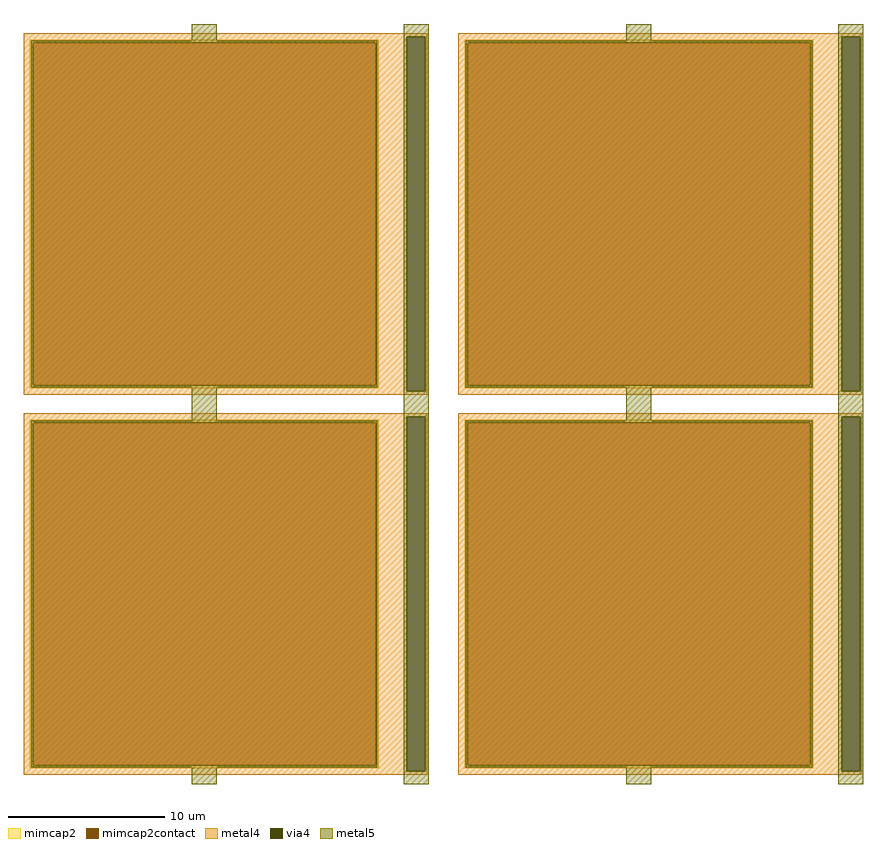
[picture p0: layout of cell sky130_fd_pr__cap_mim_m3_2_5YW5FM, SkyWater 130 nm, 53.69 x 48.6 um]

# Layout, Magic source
magic
tech sky130A
magscale 1 2
<< metal4 >>
rect -5358 4699 -200 4740
rect -5358 161 -456 4699
rect -220 161 -200 4699
rect -5358 120 -200 161
rect 200 4699 5358 4740
rect 200 161 5102 4699
rect 5338 161 5358 4699
rect 200 120 5358 161
rect -5358 -161 -200 -120
rect -5358 -4699 -456 -161
rect -220 -4699 -200 -161
rect -5358 -4740 -200 -4699
rect 200 -161 5358 -120
rect 200 -4699 5102 -161
rect 5338 -4699 5358 -161
rect 200 -4740 5358 -4699
<< via4 >>
rect -456 161 -220 4699
rect 5102 161 5338 4699
rect -456 -4699 -220 -161
rect 5102 -4699 5338 -161
<< mimcap2 >>
rect -5278 4620 -818 4660
rect -5278 240 -5238 4620
rect -858 240 -818 4620
rect -5278 200 -818 240
rect 280 4620 4740 4660
rect 280 240 320 4620
rect 4700 240 4740 4620
rect 280 200 4740 240
rect -5278 -240 -818 -200
rect -5278 -4620 -5238 -240
rect -858 -4620 -818 -240
rect -5278 -4660 -818 -4620
rect 280 -240 4740 -200
rect 280 -4620 320 -240
rect 4700 -4620 4740 -240
rect 280 -4660 4740 -4620
<< mimcap2contact >>
rect -5238 240 -858 4620
rect 320 240 4700 4620
rect -5238 -4620 -858 -240
rect 320 -4620 4700 -240
<< metal5 >>
rect -3208 4644 -2888 4860
rect -498 4699 -178 4860
rect -5262 4620 -834 4644
rect -5262 240 -5238 4620
rect -858 240 -834 4620
rect -5262 216 -834 240
rect -3208 -216 -2888 216
rect -498 161 -456 4699
rect -220 161 -178 4699
rect 2350 4644 2670 4860
rect 5060 4699 5380 4860
rect 296 4620 4724 4644
rect 296 240 320 4620
rect 4700 240 4724 4620
rect 296 216 4724 240
rect -498 -161 -178 161
rect -5262 -240 -834 -216
rect -5262 -4620 -5238 -240
rect -858 -4620 -834 -240
rect -5262 -4644 -834 -4620
rect -3208 -4860 -2888 -4644
rect -498 -4699 -456 -161
rect -220 -4699 -178 -161
rect 2350 -216 2670 216
rect 5060 161 5102 4699
rect 5338 161 5380 4699
rect 5060 -161 5380 161
rect 296 -240 4724 -216
rect 296 -4620 320 -240
rect 4700 -4620 4724 -240
rect 296 -4644 4724 -4620
rect -498 -4860 -178 -4699
rect 2350 -4860 2670 -4644
rect 5060 -4699 5102 -161
rect 5338 -4699 5380 -161
rect 5060 -4860 5380 -4699
<< properties >>
string FIXED_BBOX 200 120 4820 4740
string gencell sky130_fd_pr__cap_mim_m3_2
string library sky130
string parameters w 22.3 l 22.3 val 1.011k carea 2.00 cperi 0.19 nx 2 ny 2 dummy 0 square 0 lmin 2.00 wmin 2.00 lmax 30.0 wmax 30.0 dc 0 bconnect 1 tconnect 1 ccov 100
<< end >>
